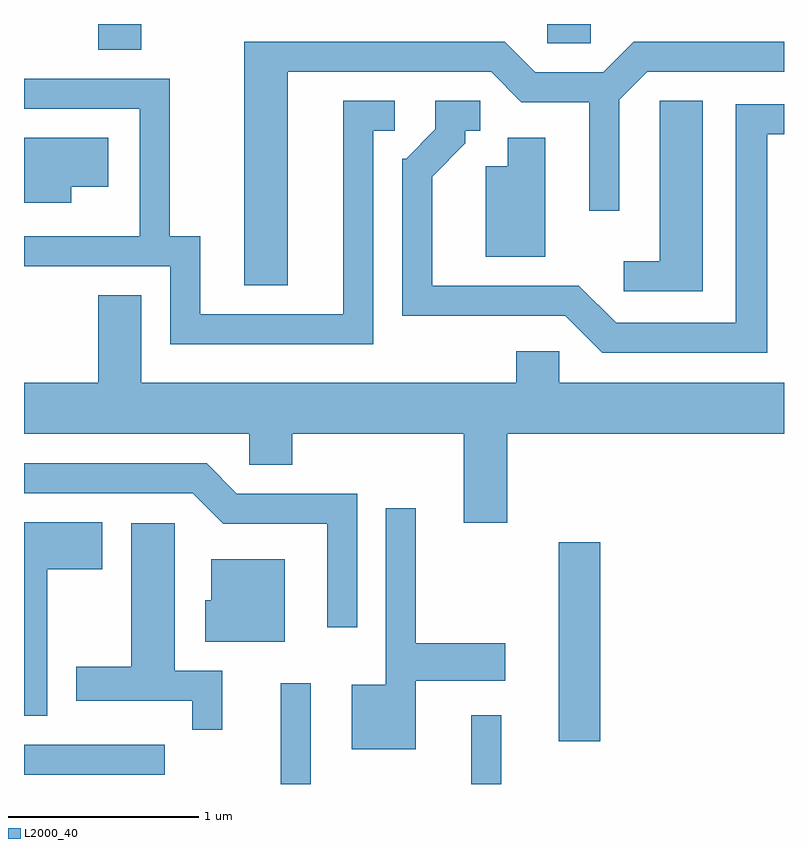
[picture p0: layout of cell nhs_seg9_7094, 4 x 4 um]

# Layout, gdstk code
import gdstk
lib = gdstk.Library(unit=1e-6, precision=1e-09)
def R(c, l, rs):  # rectangles x0, y0, x1, y1
    for r in rs: c.add(gdstk.rectangle(r[:2], r[2:], *l))
def P(c, l, *ps):  # polygons
    for p in ps: c.add(gdstk.Polygon(p, *l))
L2000_40 = (2000, 40)

nhs_seg9_7094 = lib.new_cell('nhs_seg9_7094')
R(nhs_seg9_7094, L2000_40, [(396.961,1974.432,397.119,1974.963), (397.966,1974.432,398.124,1974.793), (395.611,1974.481,396.353,1974.639), (398.426,1974.656,398.644,1975.704), (396.001,1978.296,396.229,1978.432), (398.366,1978.331,398.594,1978.432)])
P(nhs_seg9_7094, L2000_40, [(396.999,1978.181),(398.069,1978.181),(398.229,1978.021),(398.586,1978.021),(398.586,1977.448),(398.744,1977.448),(398.744,1978.034),(398.892,1978.181),(399.611,1978.181),(399.611,1978.339),(398.819,1978.339),(398.659,1978.179),(398.302,1978.179),(398.142,1978.339),(396.771,1978.339),(396.771,1977.056),(396.999,1977.056)],
  [(397.449,1977.871),(397.563,1977.871),(397.563,1978.029),(397.291,1978.029),(397.291,1976.904),(396.539,1976.904),(396.539,1977.314),(396.379,1977.314),(396.379,1978.144),(395.611,1978.144),(395.611,1977.986),(396.221,1977.986),(396.221,1977.314),(395.611,1977.314),(395.611,1977.156),(396.381,1977.156),(396.381,1976.746),(397.449,1976.746)],
  [(399.184,1978.029),(398.956,1978.029),(398.956,1977.184),(398.768,1977.184),(398.768,1977.026),(399.184,1977.026)],
  [(399.524,1977.851),(399.611,1977.851),(399.611,1978.009),(399.356,1978.009),(399.356,1976.859),(398.727,1976.859),(398.532,1977.054),(397.759,1977.054),(397.759,1977.629),(397.934,1977.804),(397.934,1977.871),(398.013,1977.871),(398.013,1978.029),(397.776,1978.029),(397.776,1977.877),(397.624,1977.724),(397.601,1977.724),(397.601,1976.896),(398.459,1976.896),(398.654,1976.701),(399.524,1976.701)],
  [(395.859,1977.576),(396.054,1977.576),(396.054,1977.834),(395.611,1977.834),(395.611,1977.491),(395.859,1977.491)],
  [(398.354,1977.834),(398.156,1977.834),(398.156,1977.684),(398.041,1977.684),(398.041,1977.206),(398.354,1977.206)],
  [(398.154,1976.276),(399.611,1976.276),(399.611,1976.544),(398.429,1976.544),(398.429,1976.709),(398.201,1976.709),(398.201,1976.544),(396.229,1976.544),(396.229,1977.004),(396.001,1977.004),(396.001,1976.544),(395.611,1976.544),(395.611,1976.276),(396.796,1976.276),(396.796,1976.111),(397.024,1976.111),(397.024,1976.276),(397.926,1976.276),(397.926,1975.806),(398.154,1975.806)],
  [(397.364,1975.959),(396.732,1975.959),(396.572,1976.119),(395.611,1976.119),(395.611,1975.961),(396.499,1975.961),(396.659,1975.801),(397.206,1975.801),(397.206,1975.258),(397.364,1975.258)],
  [(397.674,1974.976),(398.144,1974.976),(398.144,1975.174),(397.674,1975.174),(397.674,1975.883),(397.516,1975.883),(397.516,1974.954),(397.336,1974.954),(397.336,1974.616),(397.674,1974.616)],
  [(395.734,1975.561),(396.024,1975.561),(396.024,1975.809),(395.611,1975.809),(395.611,1974.791),(395.734,1974.791)],
  [(396.654,1975.029),(396.404,1975.029),(396.404,1975.804),(396.176,1975.804),(396.176,1975.049),(395.886,1975.049),(395.886,1974.871),(396.496,1974.871),(396.496,1974.718),(396.654,1974.718)],
  [(396.984,1975.614),(396.596,1975.614),(396.596,1975.399),(396.566,1975.399),(396.566,1975.181),(396.984,1975.181)])

lib.write_gds('nhs_seg9_7094.gds')
